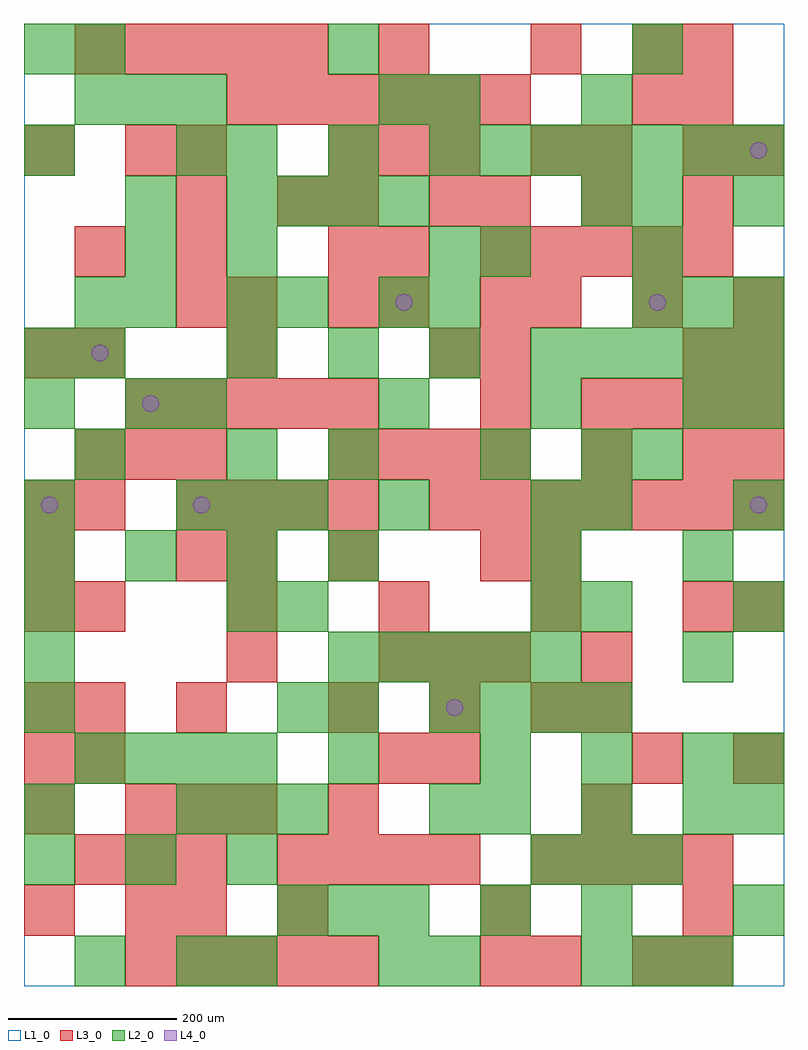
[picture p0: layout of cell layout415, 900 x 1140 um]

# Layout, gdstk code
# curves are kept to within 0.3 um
import gdstk
lib = gdstk.Library(unit=1e-6, precision=1e-09)
def R(c, l, rs):  # rectangles x0, y0, x1, y1
    for r in rs: c.add(gdstk.rectangle(r[:2], r[2:], *l))
def A(c, l, x, y, w, h, nx, ny, dx, dy):  # array of equal rectangles
    R(c, l, [(x+i*dx, y+j*dy, x+i*dx+w, y+j*dy+h) for i in range(nx) for j in range(ny)])
def P(c, l, *ps):  # polygons
    for p in ps: c.add(gdstk.Polygon(p, *l))
L1_0 = (1, 0)
L2_0 = (2, 0)
L3_0 = (3, 0)
L4_0 = (4, 0)

layout415 = lib.new_cell('layout415')
R(layout415, L1_0, [(0,0,900,1140)])
A(layout415, L2_0, 660, 0, 60, 60, 3, 1, 60, 0)
A(layout415, L2_0, 300, 60, 60, 60, 3, 1, 60, 0)
A(layout415, L2_0, 0, 120, 60, 60, 3, 1, 120, 0)
A(layout415, L2_0, 600, 120, 60, 60, 3, 1, 60, 0)
A(layout415, L2_0, 180, 180, 60, 60, 3, 2, 60, 360)
A(layout415, L2_0, 540, 180, 60, 60, 3, 2, 120, 60)
A(layout415, L2_0, 60, 240, 60, 60, 4, 1, 60, 0)
A(layout415, L2_0, 0, 300, 60, 60, 1, 3, 0, 60)
A(layout415, L2_0, 480, 300, 60, 60, 4, 1, 60, 0)
A(layout415, L2_0, 360, 360, 60, 60, 5, 1, 60, 0)
A(layout415, L2_0, 240, 420, 60, 60, 1, 3, 0, 180)
A(layout415, L2_0, 600, 420, 60, 60, 1, 3, 0, 60)
A(layout415, L2_0, 840, 420, 60, 60, 1, 3, 0, 120)
A(layout415, L2_0, 0, 480, 60, 60, 4, 1, 120, 0)
A(layout415, L2_0, 420, 540, 60, 60, 1, 3, 0, 240)
A(layout415, L2_0, 420, 660, 60, 60, 3, 1, 180, 0)
A(layout415, L2_0, 240, 720, 60, 60, 4, 1, 120, 0)
A(layout415, L2_0, 660, 720, 60, 60, 4, 1, 60, 0)
A(layout415, L2_0, 120, 780, 60, 60, 1, 3, 0, 60)
A(layout415, L2_0, 720, 780, 60, 60, 3, 1, 60, 0)
A(layout415, L2_0, 240, 900, 60, 60, 4, 1, 60, 0)
A(layout415, L2_0, 240, 960, 60, 60, 3, 1, 120, 0)
A(layout415, L2_0, 540, 960, 60, 60, 6, 1, 60, 0)
A(layout415, L2_0, 60, 1020, 60, 60, 3, 1, 60, 0)
R(layout415, L2_0, [(60,0,120,60), (180,0,240,60), (240,0,300,60), (420,0,480,60), (480,0,540,60), (540,60,600,120), (660,60,720,120), (840,60,900,120), (0,180,60,240), (480,180,540,240), (840,180,900,240), (360,240,420,300), (840,240,900,300), (300,300,360,360), (360,300,420,360), (780,360,840,420), (300,420,360,480), (660,420,720,480), (780,480,840,540), (0,540,60,600), (660,540,720,600), (60,600,120,660), (360,600,420,660), (540,600,600,660), (660,600,720,660), (720,600,780,660), (0,660,60,720), (120,660,180,720), (180,660,240,720), (0,720,60,780), (60,720,120,780), (60,780,120,840), (300,780,360,840), (480,780,540,840), (240,840,300,900), (480,840,540,900), (540,840,600,900), (720,840,780,900), (660,900,720,960), (720,900,780,960), (840,900,900,960), (0,960,60,1020), (180,960,240,1020), (480,1020,540,1080), (660,1020,720,1080), (0,1080,60,1140), (60,1080,120,1140), (360,1080,420,1140), (720,1080,780,1140)])
A(layout415, L3_0, 120, 0, 60, 60, 5, 2, 60, 660)
A(layout415, L3_0, 600, 0, 60, 60, 1, 3, 0, 480)
A(layout415, L3_0, 300, 60, 60, 60, 3, 1, 240, 0)
A(layout415, L3_0, 60, 120, 60, 60, 3, 2, 60, 480)
A(layout415, L3_0, 300, 120, 60, 60, 4, 1, 60, 0)
A(layout415, L3_0, 600, 120, 60, 60, 4, 1, 60, 0)
A(layout415, L3_0, 0, 180, 60, 60, 1, 3, 0, 60)
A(layout415, L3_0, 120, 180, 60, 60, 3, 1, 60, 0)
A(layout415, L3_0, 360, 180, 60, 60, 1, 3, 0, 300)
A(layout415, L3_0, 840, 240, 60, 60, 1, 3, 0, 180)
A(layout415, L3_0, 360, 300, 60, 60, 3, 1, 120, 0)
A(layout415, L3_0, 420, 360, 60, 60, 3, 1, 60, 0)
A(layout415, L3_0, 0, 420, 60, 60, 1, 3, 0, 60)
A(layout415, L3_0, 60, 420, 60, 60, 5, 1, 180, 0)
A(layout415, L3_0, 180, 540, 60, 60, 4, 1, 60, 0)
A(layout415, L3_0, 480, 540, 60, 60, 7, 1, 60, 0)
A(layout415, L3_0, 360, 600, 60, 60, 4, 1, 60, 0)
A(layout415, L3_0, 540, 660, 60, 60, 1, 3, 0, 60)
A(layout415, L3_0, 660, 660, 60, 60, 4, 1, 60, 0)
A(layout415, L3_0, 180, 780, 60, 60, 1, 4, 0, 60)
A(layout415, L3_0, 600, 780, 60, 60, 3, 1, 120, 0)
A(layout415, L3_0, 540, 840, 60, 60, 5, 1, 60, 0)
A(layout415, L3_0, 540, 900, 60, 60, 3, 1, 120, 0)
A(layout415, L3_0, 360, 960, 60, 60, 3, 1, 60, 0)
A(layout415, L3_0, 780, 960, 60, 60, 1, 3, 0, 60)
A(layout415, L3_0, 240, 1020, 60, 60, 6, 1, 60, 0)
A(layout415, L3_0, 60, 1080, 60, 60, 5, 1, 60, 0)
R(layout415, L3_0, [(540,0,600,60), (720,0,780,60), (780,0,840,60), (0,60,60,120), (120,60,180,120), (180,60,240,120), (660,180,720,240), (60,240,120,300), (420,240,480,300), (480,240,540,300), (720,240,780,300), (60,300,120,360), (180,300,240,360), (660,300,720,360), (240,360,300,420), (660,360,720,420), (180,480,240,540), (240,480,300,540), (540,480,600,540), (60,540,120,600), (660,600,720,660), (780,600,840,660), (0,720,60,780), (60,720,120,780), (240,720,300,780), (480,720,540,780), (780,720,840,780), (840,720,900,780), (240,780,300,840), (420,780,480,840), (60,840,120,900), (360,840,420,900), (420,840,480,900), (300,900,360,960), (360,900,420,960), (480,900,540,960), (0,960,60,1020), (120,960,180,1020), (660,960,720,1020), (840,960,900,1020), (720,1020,780,1080), (420,1080,480,1140), (600,1080,660,1140), (720,1080,780,1140)])
P(layout415, L4_0, [(40,570),(39.239,573.827),(37.071,577.071),(33.827,579.239),(30,580),(26.173,579.239),(22.929,577.071),(20.761,573.827),(20,570),(20.761,566.173),(22.929,562.929),(26.173,560.761),(30,560),(33.827,560.761),(37.071,562.929),(39.239,566.173)],
  [(100,750),(99.239,753.827),(97.071,757.071),(93.827,759.239),(90,760),(86.173,759.239),(82.929,757.071),(80.761,753.827),(80,750),(80.761,746.173),(82.929,742.929),(86.173,740.761),(90,740),(93.827,740.761),(97.071,742.929),(99.239,746.173)],
  [(160,690),(159.239,693.827),(157.071,697.071),(153.827,699.239),(150,700),(146.173,699.239),(142.929,697.071),(140.761,693.827),(140,690),(140.761,686.173),(142.929,682.929),(146.173,680.761),(150,680),(153.827,680.761),(157.071,682.929),(159.239,686.173)],
  [(220,570),(219.239,573.827),(217.071,577.071),(213.827,579.239),(210,580),(206.173,579.239),(202.929,577.071),(200.761,573.827),(200,570),(200.761,566.173),(202.929,562.929),(206.173,560.761),(210,560),(213.827,560.761),(217.071,562.929),(219.239,566.173)],
  [(460,810),(459.239,813.827),(457.071,817.071),(453.827,819.239),(450,820),(446.173,819.239),(442.929,817.071),(440.761,813.827),(440,810),(440.761,806.173),(442.929,802.929),(446.173,800.761),(450,800),(453.827,800.761),(457.071,802.929),(459.239,806.173)],
  [(520,330),(519.239,333.827),(517.071,337.071),(513.827,339.239),(510,340),(506.173,339.239),(502.929,337.071),(500.761,333.827),(500,330),(500.761,326.173),(502.929,322.929),(506.173,320.761),(510,320),(513.827,320.761),(517.071,322.929),(519.239,326.173)],
  [(760,810),(759.239,813.827),(757.071,817.071),(753.827,819.239),(750,820),(746.173,819.239),(742.929,817.071),(740.761,813.827),(740,810),(740.761,806.173),(742.929,802.929),(746.173,800.761),(750,800),(753.827,800.761),(757.071,802.929),(759.239,806.173)],
  [(880,570),(879.239,573.827),(877.071,577.071),(873.827,579.239),(870,580),(866.173,579.239),(862.929,577.071),(860.761,573.827),(860,570),(860.761,566.173),(862.929,562.929),(866.173,560.761),(870,560),(873.827,560.761),(877.071,562.929),(879.239,566.173)],
  [(880,990),(879.239,993.827),(877.071,997.071),(873.827,999.239),(870,1000),(866.173,999.239),(862.929,997.071),(860.761,993.827),(860,990),(860.761,986.173),(862.929,982.929),(866.173,980.761),(870,980),(873.827,980.761),(877.071,982.929),(879.239,986.173)])

lib.write_gds('layout415.gds')
